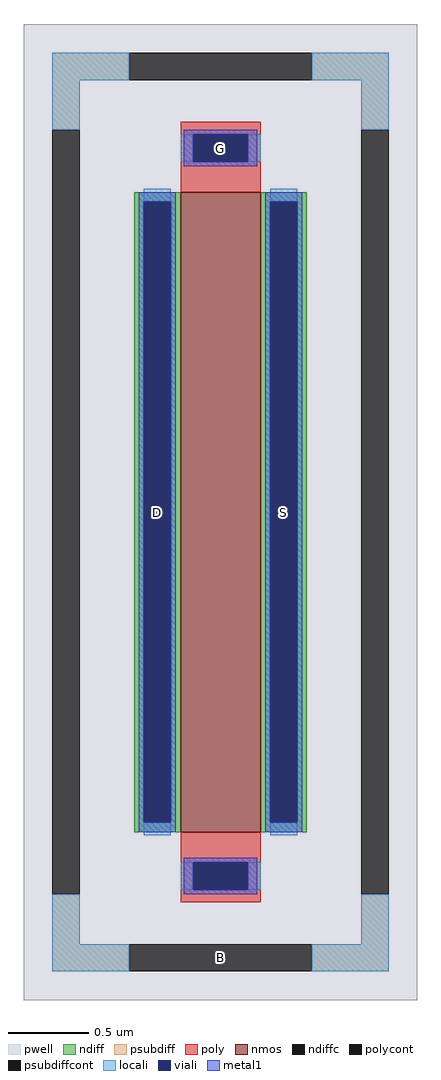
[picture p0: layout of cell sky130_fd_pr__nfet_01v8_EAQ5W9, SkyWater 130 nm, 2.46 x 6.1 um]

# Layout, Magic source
magic
tech sky130A
magscale 1 2
<< pwell >>
rect -246 -610 246 610
<< nmos >>
rect -50 -400 50 400
<< ndiff >>
rect -108 388 -50 400
rect -108 -388 -96 388
rect -62 -388 -50 388
rect -108 -400 -50 -388
rect 50 388 108 400
rect 50 -388 62 388
rect 96 -388 108 388
rect 50 -400 108 -388
<< ndiffc >>
rect -96 -388 -62 388
rect 62 -388 96 388
<< psubdiff >>
rect -210 540 -114 574
rect 114 540 210 574
rect -210 478 -176 540
rect 176 478 210 540
rect -210 -540 -176 -478
rect 176 -540 210 -478
rect -210 -574 -114 -540
rect 114 -574 210 -540
<< psubdiffcont >>
rect -114 540 114 574
rect -210 -478 -176 478
rect 176 -478 210 478
rect -114 -574 114 -540
<< poly >>
rect -50 472 50 488
rect -50 438 -34 472
rect 34 438 50 472
rect -50 400 50 438
rect -50 -438 50 -400
rect -50 -472 -34 -438
rect 34 -472 50 -438
rect -50 -488 50 -472
<< polycont >>
rect -34 438 34 472
rect -34 -472 34 -438
<< locali >>
rect -210 540 -114 574
rect 114 540 210 574
rect -210 478 -176 540
rect 176 478 210 540
rect -50 438 -34 472
rect 34 438 50 472
rect -96 388 -62 404
rect -96 -404 -62 -388
rect 62 388 96 404
rect 62 -404 96 -388
rect -50 -472 -34 -438
rect 34 -472 50 -438
rect -210 -540 -176 -478
rect 176 -540 210 -478
rect -210 -574 -114 -540
rect 114 -574 210 -540
<< viali >>
rect -34 438 34 472
rect -96 -388 -62 388
rect 62 -388 96 388
rect -34 -472 34 -438
<< metal1 >>
rect -46 472 46 478
rect -46 438 -34 472
rect 34 438 46 472
rect -46 432 46 438
rect -102 388 -56 400
rect -102 -388 -96 388
rect -62 -388 -56 388
rect -102 -400 -56 -388
rect 56 388 102 400
rect 56 -388 62 388
rect 96 -388 102 388
rect 56 -400 102 -388
rect -46 -438 46 -432
rect -46 -472 -34 -438
rect 34 -472 46 -438
rect -46 -478 46 -472
<< labels >>
rlabel psubdiffcont 0 -557 0 -557 0 B
port 5 nsew
rlabel ndiffc -79 0 -79 0 0 D
port 6 nsew
rlabel ndiffc 79 0 79 0 0 S
port 7 nsew
rlabel polycont 0 455 0 455 0 G
port 8 nsew
<< properties >>
string FIXED_BBOX -193 -557 193 557
string gencell sky130_fd_pr__nfet_01v8
string library sky130
string parameters w 4.0 l 0.5 m 1 nf 1 diffcov 100 polycov 100 guard 1 glc 1 grc 1 gtc 1 gbc 1 tbcov 100 rlcov 100 topc 1 botc 1 poverlap 0 doverlap 1 lmin 0.15 wmin 0.42 class mosfet compatible {sky130_fd_pr__nfet_01v8 sky130_fd_pr__nfet_01v8_lvt  sky130_fd_bs_flash__special_sonosfet_star  sky130_fd_pr__nfet_g5v0d10v5 sky130_fd_pr__nfet_05v0_nvt  sky130_fd_pr__nfet_03v3_nvt} full_metal 1 conn_gates 0 viasrc 100 viadrn 100 viagate 100 viagb 0 viagr 0 viagl 0 viagt 0 doports 1
<< end >>
